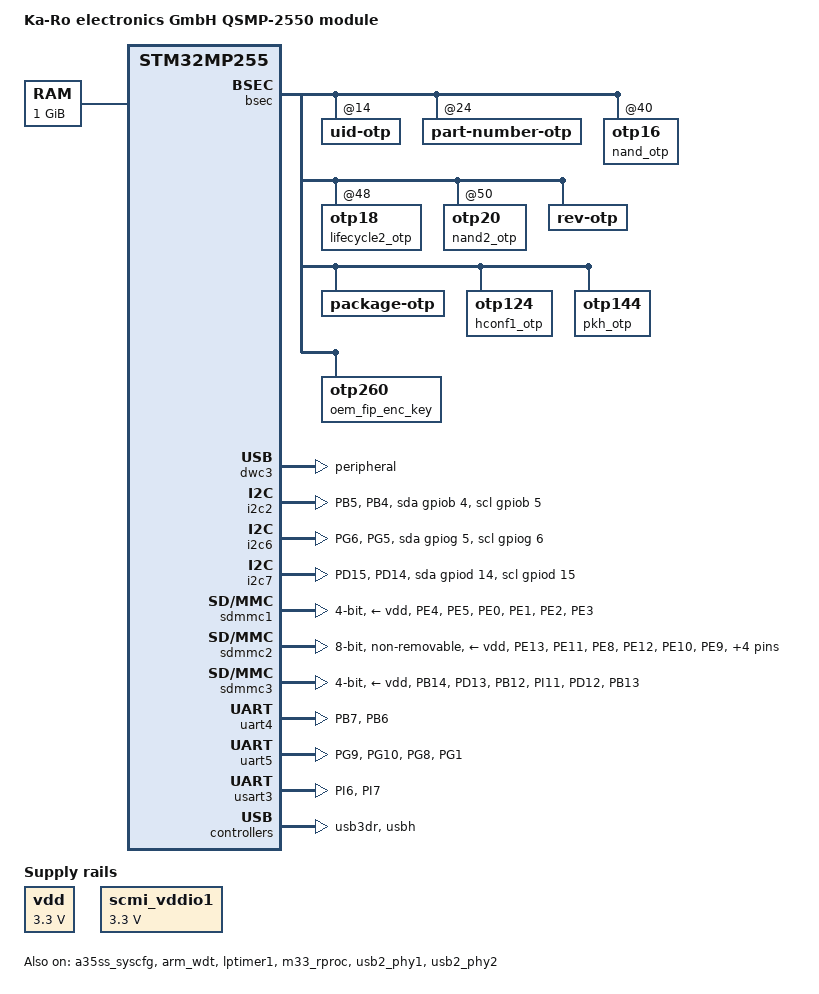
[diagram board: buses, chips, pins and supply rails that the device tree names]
// SPDX-License-Identifier: (GPL-2.0-only OR BSD-3-Clause)
/*
 * Copyright (C) 2024 Lothar Waßmann <LW@KARO-electronics.de>
 */

/dts-v1/;

#include <dt-bindings/gpio/gpio.h>
#include <dt-bindings/interrupt-controller/irq.h>
#include <dt-bindings/pinctrl/stm32-pinfunc.h>
#include <dt-bindings/regulator/nxp,pca9450-regulator.h>
#include "stm32mp25-karo-resmem.dtsi"
#include "stm32mp255.dtsi"
#include "stm32mp25xf.dtsi"
#include "stm32mp25xxak-pinctrl.dtsi"

/ {
	model = "Ka-Ro electronics GmbH QSMP-2550 module";
	compatible = "karo,stm32mp255f-qsmp-2550", "karo,qsmp", "st,stm32mp255";

	aliases {
		ethernet0 = &eth1;
		ethernet1 = &eth2;
		i2c0 = &i2c2;
		i2c1 = &i2c6;
		i2c2 = &i2c7;
		mmc0 = &sdmmc2;
		mmc1 = &sdmmc1;
		mmc2 = &sdmmc3;
		serial0 = &uart4;
		serial1 = &usart3;
		serial2 = &uart5;
	};

	chosen {
		stdout-path = "serial0:115200n8";
	};

	memory@80000000 {
		device_type = "memory";
		reg = <0x00000000 0x80000000 0x00000000 0x40000000>;
	};

	vdd: vdd {
		compatible = "regulator-fixed";
		regulator-name = "vdd";
		regulator-min-microvolt = <3300000>;
		regulator-max-microvolt = <3300000>;
		regulator-always-on;
	};
};

&a35ss_syscfg {
	status = "okay";
};

&arm_wdt {
	status = "okay";
};

&bsec {
	uid-otp@14 {
		reg = <0x14 0xc>;
	};

	part-number-otp@24 {
		reg = <0x24 0x4>;
	};

	nand_otp: otp16@40 {
		reg = <0x40 0x4>;
	};

	lifecycle2_otp: otp18@48 {
		reg = <0x48 0x4>;
	};

	nand2_otp: otp20@50 {
		reg = <0x50 0x4>;
	};

	rev-otp@198 {
		reg = <0x198 0x4>;
	};

	package-otp@1e8 {
		reg = <0x1e8 0x1>;
	};

	hconf1_otp: otp124@1f0 {
		reg = <0x1f0 0x4>;
	};

	pkh_otp: otp144@240 {
		reg = <0x240 0x20>;
	};

	oem_fip_enc_key: otp260@410 {
		reg = <0x410 0x20>;
	};
};

&dwc3 {
	dr_mode = "peripheral";
	maximum-speed = "high-speed";
};

&i2c2 {
	pinctrl-names = "default", "sleep";
	pinctrl-0 = <&i2c2_pins>;
	pinctrl-1 = <&i2c2_sleep_pins>;
	scl-gpios = <&gpiob 5 GPIO_ACTIVE_HIGH>;
	sda-gpios = <&gpiob 4 GPIO_ACTIVE_HIGH>;
	status = "okay";
};

&i2c6 {
	pinctrl-names = "default", "sleep";
	pinctrl-0 = <&i2c6_pins>;
	pinctrl-1 = <&i2c6_sleep_pins>;
	scl-gpios = <&gpiog 6 GPIO_ACTIVE_HIGH>;
	sda-gpios = <&gpiog 5 GPIO_ACTIVE_HIGH>;
	status = "okay";
};

&i2c7 {
	pinctrl-names = "default", "sleep";
	pinctrl-0 = <&i2c7_pins>;
	pinctrl-1 = <&i2c7_sleep_pins>;
	scl-gpios = <&gpiod 15 GPIO_ACTIVE_HIGH>;
	sda-gpios = <&gpiod 14 GPIO_ACTIVE_HIGH>;
	status = "okay";
};

&ipcc1 {
	status = "okay";
};

&lptimer1 {
	status = "okay";

	counter {
		status = "okay";
	};
};

&m33_rproc {
	mboxes = <&ipcc1 0x100>, <&ipcc1 0x101>, <&ipcc1 2>;
	mbox-names = "vq0", "vq1", "shutdown";
	memory-region = <&cm33_cube_fw>, <&cm33_cube_data>,
			<&ipc_shmem_1>, <&vdev0vring0>,
			<&vdev0vring1>, <&vdev0buffer>,
			<&cm33_sram2>;
	st,syscfg-nsvtor = <&a35ss_syscfg 0xa8 0xffffff80>;
	status = "okay";
};

&scmi_regu {
	scmi_vddcore: voltd-vddcore@a {
		reg = <VOLTD_SCMI_PCA9450_BUCK1>;
		regulator-name = "vddcore";
	};

	scmi_v1v8: voltd-v1v8@e {
		reg = <VOLTD_SCMI_PCA9450_BUCK5>;
		regulator-name = "v1v8";
	};

	scmi_vddio_sdcard: voltd-vddio-sdcard@13 {
		reg = <VOLTD_SCMI_PCA9450_LDO3>;
		regulator-name = "vddio_sdcard";
	};
};

&scmi_vddio1 {
	regulator-min-microvolt = <3300000>;
	regulator-max-microvolt = <3300000>;
};

&sdmmc1 {
	/* SD card slot #1 */
	pinctrl-names = "default", "opendrain", "sleep";
	pinctrl-0 = <&sdmmc1_pins>;
	pinctrl-1 = <&sdmmc1_opendrain_pins>;
	pinctrl-2 = <&sdmmc1_sleep_pins>;
	disable-wp;
	st,neg-edge;
	bus-width = <4>;
	vmmc-supply = <&vdd>;
	vqmmc-supply = <&scmi_vddio1>;
	no-1-8-v;
	status = "okay";
};

&sdmmc2 {
	/* eMMC */
	pinctrl-names = "default", "opendrain", "sleep";
	pinctrl-0 = <&sdmmc2_pins>;
	pinctrl-1 = <&sdmmc2_opendrain_pins>;
	pinctrl-2 = <&sdmmc2_sleep_pins>;
	bus-width = <8>;
	vmmc-supply = <&vdd>;
	vqmmc-supply = <&scmi_vddio2>;
	mmc-ddr-1_8v;
	mmc-hs200-1_8v;
//	mmc-hs400-1_8v;
	no-sd;
	no-sdio;
	st,neg-edge;
	non-removable;
	status = "okay";
};

&sdmmc3 {
	/* SD card slot #2 */
	pinctrl-names = "default", "opendrain", "sleep";
	pinctrl-0 = <&sdmmc3_pins>;
	pinctrl-1 = <&sdmmc3_opendrain_pins>;
	pinctrl-2 = <&sdmmc3_sleep_pins>;
	disable-wp;
	st,neg-edge;
	bus-width = <4>;
	vmmc-supply = <&vdd>;
	vqmmc-supply = <&scmi_vddio1>;
	no-1-8-v;
};

&uart4 {
	/* serial console */
	pinctrl-names = "default";
	pinctrl-0 = <&uart4_pins>;
	status = "okay";
};

&uart5 {
	pinctrl-names = "default";
	pinctrl-0 = <&uart5_pins &uart5_rtscts_pins>;
	status = "okay";
};

&usart3 {
	pinctrl-names = "default";
	pinctrl-0 = <&usart3_pins>;
};

&usb2_phy1 {
	vdd33-supply = <&vdd>;
	status = "okay";
};

&usb2_phy2 {
	vdd33-supply = <&vdd>;
	status = "okay";
};

&usb3dr {
	status = "okay";
};

&usbh {
	status = "okay";
};

&pinctrl {
	i2c2_pins: i2c2-pins {
		pins {
			pinmux = <
				  STM32_PINMUX('B', 5, AF9)	/* I2C2_SCL */
				  STM32_PINMUX('B', 4, AF9)	/* I2C2_SDA */
			>;
			bias-pull-up;
			drive-open-drain;
			slew-rate = <0>;
		};
	};

	i2c2_sleep_pins: i2c2-sleep-pins {
		pins {
			pinmux = <
				  STM32_PINMUX('B', 5, ANALOG)	/* I2C2_SCL */
				  STM32_PINMUX('B', 4, ANALOG)	/* I2C2_SDA */
			>;
			bias-pull-up;
		};
	};

	i2c6_pins: i2c6-pins {
		pins {
			pinmux = <
				  STM32_PINMUX('G', 6, AF9)	/* I2C6_SCL */
				  STM32_PINMUX('G', 5, AF9)	/* I2C6_SDA */
			>;
			bias-pull-up;
			drive-open-drain;
			slew-rate = <0>;
		};
	};

	i2c6_sleep_pins: i2c6-sleep-pins {
		pins {
			pinmux = <
				  STM32_PINMUX('G', 6, ANALOG)	/* I2C6_SCL */
				  STM32_PINMUX('G', 5, ANALOG)	/* I2C6_SDA */
			>;
			bias-pull-up;
		};
	};

	i2c7_pins: i2c7-pins {
		pins {
			pinmux = <
				  STM32_PINMUX('D', 15, AF10)	/* I2C7_SCL */
				  STM32_PINMUX('D', 14, AF10)	/* I2C7_SDA */
			>;
			bias-pull-up;
			drive-open-drain;
			slew-rate = <0>;
		};
	};

	i2c7_sleep_pins: i2c7-sleep-pins {
		pins {
			pinmux = <
				  STM32_PINMUX('D', 15, ANALOG)	/* I2C7_SCL */
				  STM32_PINMUX('D', 14, ANALOG)	/* I2C7_SDA */
			>;
			bias-pull-up;
		};
	};

	sdmmc1_pins: sdmmc1-pins {
		pins1 {
			pinmux = <
				  STM32_PINMUX('E', 4, AF10)	/* SDMMC1_D0 */
				  STM32_PINMUX('E', 5, AF10)	/* SDMMC1_D1 */
				  STM32_PINMUX('E', 0, AF10)	/* SDMMC1_D2 */
				  STM32_PINMUX('E', 1, AF10)	/* SDMMC1_D3 */
				  STM32_PINMUX('E', 2, AF10)	/* SDMMC1_CMD */
			>;
			bias-disable;
			drive-push-pull;
			slew-rate = <2>;
		};

		pins2 {
			pinmux = <STM32_PINMUX('E', 3, AF10)>;	/* SDMMC1_CK */
			bias-disable;
			drive-push-pull;
			slew-rate = <3>;
		};
	};

	sdmmc1_opendrain_pins: sdmmc1-opendrain-pins {
		pins1 {
			pinmux = <
				  STM32_PINMUX('E', 4, AF10)	/* SDMMC1_D0 */
				  STM32_PINMUX('E', 5, AF10)	/* SDMMC1_D1 */
				  STM32_PINMUX('E', 0, AF10)	/* SDMMC1_D2 */
				  STM32_PINMUX('E', 1, AF10)	/* SDMMC1_D3 */
			>;
			bias-disable;
			drive-push-pull;
			slew-rate = <2>;
		};

		pins2 {
			pinmux = <STM32_PINMUX('E', 3, AF10)>;	/* SDMMC1_CK */
			bias-disable;
			drive-push-pull;
			slew-rate = <3>;
		};

		pins3 {
			pinmux = <STM32_PINMUX('E', 2, AF10)>;	/* SDMMC1_CMD */
			bias-disable;
			drive-open-drain;
			slew-rate = <2>;
		};
	};

	sdmmc1_sleep_pins: sdmmc1-sleep-pins {
		pins {
			pinmux = <
				  STM32_PINMUX('E', 4, ANALOG)	/* SDMMC1_D0 */
				  STM32_PINMUX('E', 5, ANALOG)	/* SDMMC1_D1 */
				  STM32_PINMUX('E', 0, ANALOG)	/* SDMMC1_D2 */
				  STM32_PINMUX('E', 1, ANALOG)	/* SDMMC1_D3 */
				  STM32_PINMUX('E', 3, ANALOG)	/* SDMMC1_CK */
				  STM32_PINMUX('E', 2, ANALOG)	/* SDMMC1_CMD */
			>;
		};
	};

	sdmmc2_pins: sdmmc2-pins {
		pins1 {
			pinmux = <
				  STM32_PINMUX('E', 13, AF12)	/* SDMMC2_D0 */
				  STM32_PINMUX('E', 11, AF12)	/* SDMMC2_D1 */
				  STM32_PINMUX('E', 8, AF12)	/* SDMMC2_D2 */
				  STM32_PINMUX('E', 12, AF12)	/* SDMMC2_D3 */
				  STM32_PINMUX('E', 10, AF12)	/* SDMMC2_D4 */
				  STM32_PINMUX('E', 9, AF12)	/* SDMMC2_D5 */
				  STM32_PINMUX('E', 6, AF12)	/* SDMMC2_D6 */
				  STM32_PINMUX('E', 7, AF12)	/* SDMMC2_D7 */
				  STM32_PINMUX('E', 15, AF12)	/* SDMMC2_CMD */
			>;
			bias-disable;
			drive-push-pull;
			slew-rate = <2>;
		};

		pins2 {
			pinmux = <STM32_PINMUX('E', 14, AF12)>;	/* SDMMC2_CK */
			bias-disable;
			drive-push-pull;
			slew-rate = <3>;
		};
	};

	sdmmc2_opendrain_pins: sdmmc2-opendrain-pins {
		pins1 {
			pinmux = <
				  STM32_PINMUX('E', 13, AF12)	/* SDMMC2_D0 */
				  STM32_PINMUX('E', 11, AF12)	/* SDMMC2_D1 */
				  STM32_PINMUX('E', 8, AF12)	/* SDMMC2_D2 */
				  STM32_PINMUX('E', 12, AF12)	/* SDMMC2_D3 */
				  STM32_PINMUX('E', 10, AF12)	/* SDMMC2_D4 */
				  STM32_PINMUX('E', 9, AF12)	/* SDMMC2_D5 */
				  STM32_PINMUX('E', 6, AF12)	/* SDMMC2_D6 */
				  STM32_PINMUX('E', 7, AF12)	/* SDMMC2_D7 */
			>;
			bias-disable;
			drive-push-pull;
			slew-rate = <2>;
		};

		pins2 {
			pinmux = <STM32_PINMUX('E', 14, AF12)>;	/* SDMMC2_CK */
			bias-disable;
			drive-push-pull;
			slew-rate = <3>;
		};

		pins3 {
			pinmux = <
				  STM32_PINMUX('E', 15, AF12)	/* SDMMC2_CMD */
			>;
			bias-pull-up;
			drive-open-drain;
			slew-rate = <2>;
		};
	};

	sdmmc2_sleep_pins: sdmmc2-sleep-pins {
		pins {
			pinmux = <
				  STM32_PINMUX('E', 13, ANALOG)	/* SDMMC2_D0 */
				  STM32_PINMUX('E', 11, ANALOG)	/* SDMMC2_D1 */
				  STM32_PINMUX('E', 8, ANALOG)	/* SDMMC2_D2 */
				  STM32_PINMUX('E', 12, ANALOG)	/* SDMMC2_D3 */
				  STM32_PINMUX('E', 10, ANALOG)	/* SDMMC2_D4 */
				  STM32_PINMUX('E', 9, ANALOG)	/* SDMMC2_D5 */
				  STM32_PINMUX('E', 6, ANALOG)	/* SDMMC2_D6 */
				  STM32_PINMUX('E', 7, ANALOG)	/* SDMMC2_D7 */
				  STM32_PINMUX('E', 14, ANALOG)	/* SDMMC2_CK */
				  STM32_PINMUX('E', 15, ANALOG)	/* SDMMC2_CMD */
			>;
		};
	};

	sdmmc3_pins: sdmmc3-pins {
		pins1 {
			pinmux = <
				  STM32_PINMUX('B', 14, AF10)	/* SDMMC3_D0 */
				  STM32_PINMUX('D', 13, AF10)	/* SDMMC3_D1 */
				  STM32_PINMUX('B', 12, AF10)	/* SDMMC3_D2 */
				  STM32_PINMUX('I', 11, AF10)	/* SDMMC3_D3 */
				  STM32_PINMUX('D', 12, AF10)	/* SDMMC3_CMD */
			>;
			bias-disable;
			drive-push-pull;
			slew-rate = <2>;
		};

		pins2 {
			pinmux = <STM32_PINMUX('B', 13, AF10)>;	/* SDMMC3_CK */
			bias-disable;
			drive-push-pull;
			slew-rate = <3>;
		};
	};

	sdmmc3_opendrain_pins: sdmmc3-opendrain-pins {
		pins1 {
			pinmux = <
				  STM32_PINMUX('B', 14, AF10)	/* SDMMC3_D0 */
				  STM32_PINMUX('D', 13, AF10)	/* SDMMC3_D1 */
				  STM32_PINMUX('B', 12, AF10)	/* SDMMC3_D2 */
				  STM32_PINMUX('I', 11, AF10)	/* SDMMC3_D3 */
			>;
			bias-disable;
			drive-push-pull;
			slew-rate = <2>;
		};

		pins2 {
			pinmux = <STM32_PINMUX('B', 13, AF10)>;	/* SDMMC3_CK */
			bias-disable;
			drive-push-pull;
			slew-rate = <3>;
		};

		pins3 {
			pinmux = <STM32_PINMUX('D', 12, AF10)>;	/* SDMMC3_CMD */
			bias-disable;
			drive-open-drain;
			slew-rate = <2>;
		};
	};

	sdmmc3_sleep_pins: sdmmc3-sleep-pins {
		pins {
			pinmux = <
				  STM32_PINMUX('B', 14, ANALOG)	/* SDMMC3_D0 */
				  STM32_PINMUX('D', 13, ANALOG)	/* SDMMC3_D1 */
				  STM32_PINMUX('B', 12, ANALOG)	/* SDMMC3_D2 */
				  STM32_PINMUX('I', 11, ANALOG)	/* SDMMC3_D3 */
				  STM32_PINMUX('D', 12, ANALOG)	/* SDMMC3_CMD */
				  STM32_PINMUX('B', 13, ANALOG)	/* SDMMC3_CK */
			>;
		};
	};

	uart4_pins: uart4-pins {
		pins1 {
			pinmux = <STM32_PINMUX('B', 7, AF3)>;	/* UART4_TX */
			bias-disable;
			drive-push-pull;
			slew-rate = <0>;
		};

		pins2 {
			pinmux = <STM32_PINMUX('B', 6, AF3)>;	/* UART4_RX */
			bias-pull-up;
		};
	};

	uart5_pins: uart5-pins {
		pins1 {
			pinmux = <STM32_PINMUX('G', 9, AF5)>;	/* UART5_TX */
			bias-disable;
			drive-push-pull;
			slew-rate = <0>;
		};

		pins2 {
			pinmux = <STM32_PINMUX('G', 10, AF5)>;	/* UART5_RX */
			bias-pull-up;
		};
	};

	uart5_rtscts_pins: uart5-rtscts-pins {
		pins1 {
			pinmux = <STM32_PINMUX('G', 8, AF5)>;	/* UART5_RTS */
			bias-disable;
			drive-push-pull;
			slew-rate = <0>;
		};

		pins2 {
			pinmux = <STM32_PINMUX('G', 1, AF5)>;	/* UART5_CTS_NSS */
			bias-pull-up;
		};
	};

	usart3_pins: usart3-pins {
		pins1 {
			pinmux = <STM32_PINMUX('I', 6, AF6)>;	/* USART3_TX */
			bias-disable;
			drive-push-pull;
			slew-rate = <0>;
		};

		pins2 {
			pinmux = <STM32_PINMUX('I', 7, AF6)>;	/* USART3_RX */
			bias-pull-up;
		};
	};
};
